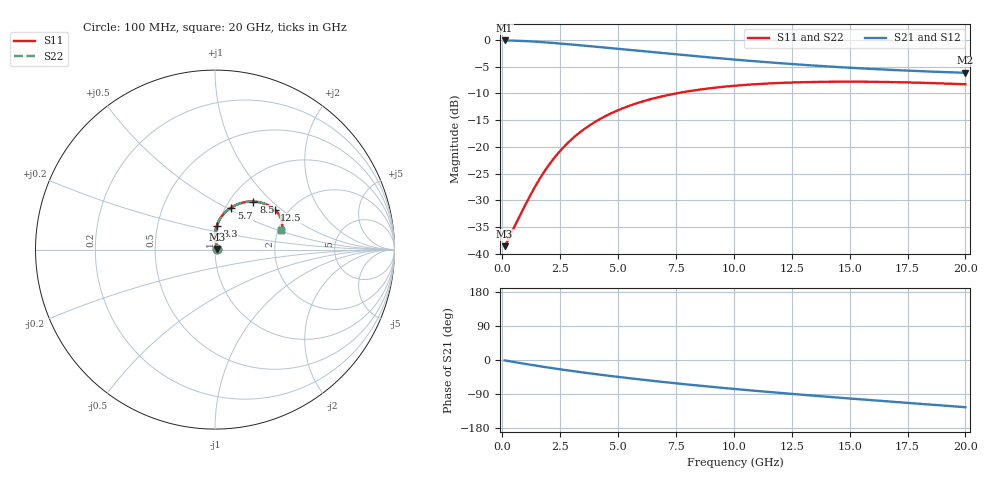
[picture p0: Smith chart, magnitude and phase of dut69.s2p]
! Touchstone file exported from HFSS 2024.1.0
!  File:  C:/UserFiles/LocalFiles/RDL_TSV_Batchsim/temp_RDL_TSV_69_1779411108.aedt
!  Generated:  09:07:06 AM May 22, 2026
!  Design:  RDL_TSV
!  Project:  temp_RDL_TSV_69_1779411108
!  Setup:  Setup1
!  Solution:  Sweep
! Variables:
!  dtsv = 5.94um
!  hbump = 3um
!  htsv = 62.9um
!  ldown = 172.44um
!  lrdl = 286.14um
!  p = 40
!  p1 = 49.48um
!  rhole = 10um
!  subl = 1661.88um
!  t = 450um
!  tdown = 2.35um
!  trdl = 3.61um
!  viad = 10um
!  wdown = 29.44um
!  wrdl = 15.6um
!  xbump = 18um
# GHz S MA R 50.000000
! Terminal data exported
! Port[1] = TM1_1_T1
! Port[2] = TM1_4_T1
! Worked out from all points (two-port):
!   200 points, 100 MHz to 20 GHz, reference 50 ohm
!   highest |S21| = -0.10 dB at 100 MHz (marker M1); lowest = -6.1 dB at 20 GHz (marker M2)
!   |S21| within 3 dB of the highest: start of sweep to 8.51 GHz
!   lowest |S11| = -38.6 dB at 100 MHz (marker M3), VSWR 1.02, Z = 51.2 + j0.299 ohm
!   |S11| at or under -10 dB: start of sweep to 7.513 GHz
!   |S22| runs from -38.6 to -7.8 dB; largest |S21 - S12| = 9.9e-15
!   S11 on the Smith chart (normalised r, x): 100 MHz: 1.02, +0.01; 3.3 GHz: 0.98, +0.27; 5.7 GHz: 1.06, +0.53; 8.5 GHz: 1.28, +0.78; 12.5 GHz: 1.70, +0.90; 20 GHz: 2.08, +0.53
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0.1  0.0118 14.3  0.9884 -1.1  0.9884 -1.1  0.0118 14.3
! Gamma 0 0 0 0
! Port Impedance 50 0 50 0
0.6  0.0194 56.3  0.9826 -6.3  0.9826 -6.3  0.0194 56.3
1.2  0.03493 79.9  0.9696 -12.4  0.9696 -12.4  0.03493 79.8
1.5  0.04571 85.5  0.961 -15.3  0.961 -15.3  0.04571 85.5
1.8  0.05816 88.6  0.9512 -18.2  0.9512 -18.2  0.05816 88.6
2.1  0.07194 89.8  0.9405 -21.0  0.9405 -21.0  0.07193 89.8
2.5  0.09179 89.6  0.9254 -24.6  0.9254 -24.6  0.09177 89.6
2.9  0.1127 88.2  0.9097 -28.0  0.9097 -28.0  0.1126 88.2
3.3  0.134 86.0  0.8936 -31.4  0.8936 -31.4  0.1339 86.0
3.5  0.1446 84.7  0.8855 -33.0  0.8855 -33.0  0.1446 84.7
4  0.1709 81.3  0.8652 -37.0  0.8652 -37.0  0.1709 81.2
4.5  0.1963 77.6  0.8451 -40.9  0.8451 -40.9  0.1962 77.6
5.1  0.2249 73.2  0.8213 -45.3  0.8213 -45.3  0.2248 73.2
5.7  0.2513 68.9  0.7981 -49.6  0.7981 -49.6  0.2512 68.9
6.8  0.2933 61.5  0.7574 -57.0  0.7574 -57.0  0.2933 61.5
8.5  0.3426 51.4  0.7 -67.6  0.7 -67.6  0.3425 51.4
10.1  0.374 43.5  0.6529 -76.8  0.6529 -76.8  0.3738 43.5
12.5  0.3998 33.8  0.595 -89.4  0.595 -89.4  0.3996 33.8
13.4  0.4043 30.7  0.577 -93.9  0.577 -93.9  0.4041 30.7
15  0.4071 26.0  0.5494 -101.6  0.5494 -101.6  0.4068 26.0
16.7  0.4039 21.9  0.5257 -109.5  0.5257 -109.5  0.4035 21.9
20  0.3848 16.3  0.4927 -124.6  0.4927 -124.6  0.3843 16.3
